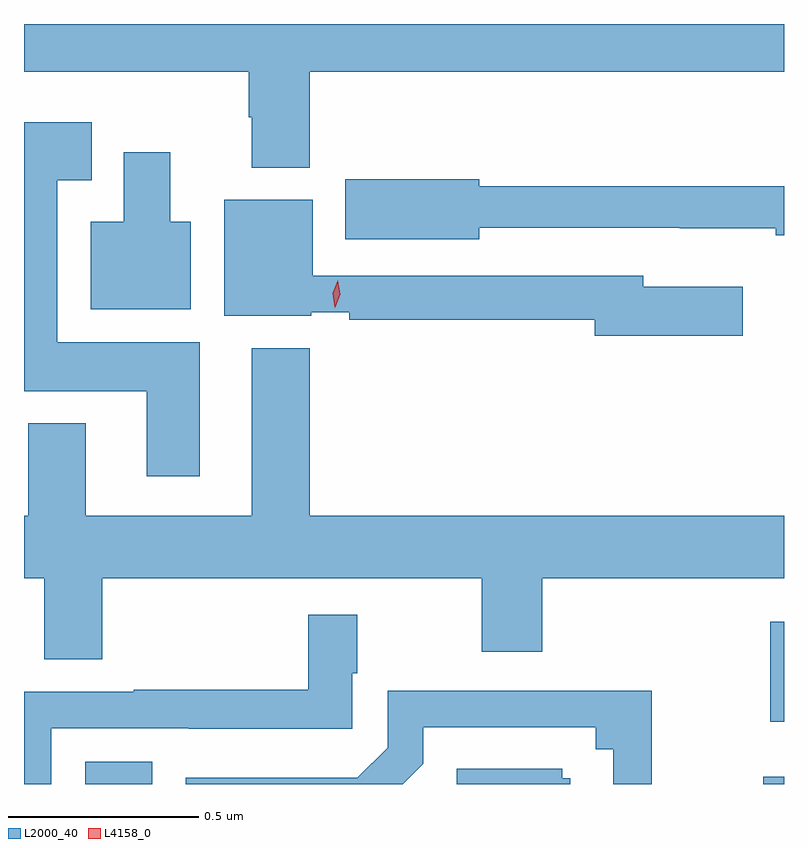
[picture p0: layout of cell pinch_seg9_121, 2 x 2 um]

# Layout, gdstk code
import gdstk
lib = gdstk.Library(unit=1e-6, precision=1e-09)
def R(c, l, rs):  # rectangles x0, y0, x1, y1
    for r in rs: c.add(gdstk.rectangle(r[:2], r[2:], *l))
def P(c, l, *ps):  # polygons
    for p in ps: c.add(gdstk.Polygon(p, *l))
L2000_40 = (2000, 40)
L4158_0 = (4158, 0)

pinch_seg9_121 = lib.new_cell('pinch_seg9_121')
R(pinch_seg9_121, L2000_40, [(843.989,1225.182,844.165,1225.24), (845.774,1225.182,845.828,1225.201), (845.792,1225.346,845.828,1225.609)])
P(pinch_seg9_121, L2000_40, [(844.58,1227.056),(845.828,1227.056),(845.828,1227.182),(843.828,1227.182),(843.828,1227.056),(844.42,1227.056),(844.42,1226.936),(844.427,1226.936),(844.427,1226.804),(844.58,1226.804)],
  [(844.291,1226.344),(843.916,1226.344),(843.916,1226.771),(844.006,1226.771),(844.006,1226.923),(843.828,1226.923),(843.828,1226.216),(844.151,1226.216),(844.151,1225.992),(844.291,1225.992)],
  [(844.267,1226.662),(844.213,1226.662),(844.213,1226.845),(844.091,1226.845),(844.091,1226.662),(844.004,1226.662),(844.004,1226.432),(844.267,1226.432)],
  [(845.026,1226.646),(845.554,1226.646),(845.554,1226.645),(845.806,1226.645),(845.806,1226.626),(845.828,1226.626),(845.828,1226.755),(845.026,1226.755),(845.026,1226.773),(844.674,1226.773),(844.674,1226.615),(845.026,1226.615)],
  [(845.719,1226.491),(845.458,1226.491),(845.458,1226.52),(844.588,1226.52),(844.588,1226.719),(844.355,1226.719),(844.355,1226.414),(844.584,1226.414),(844.584,1226.424),(844.684,1226.424),(844.684,1226.404),(845.33,1226.404),(845.33,1226.362),(845.719,1226.362)],
  [(844.034,1225.724),(845.032,1225.724),(845.032,1225.53),(845.192,1225.53),(845.192,1225.724),(845.828,1225.724),(845.828,1225.888),(844.58,1225.888),(844.58,1226.329),(844.427,1226.329),(844.427,1225.888),(843.991,1225.888),(843.991,1226.131),(843.839,1226.131),(843.839,1225.888),(843.828,1225.888),(843.828,1225.724),(843.881,1225.724),(843.881,1225.51),(844.034,1225.51)],
  [(843.9,1225.329),(844.261,1225.329),(844.261,1225.328),(844.692,1225.328),(844.692,1225.473),(844.705,1225.473),(844.705,1225.627),(844.576,1225.627),(844.576,1225.43),(844.117,1225.43),(844.117,1225.425),(843.828,1225.425),(843.828,1225.182),(843.9,1225.182)],
  [(844.878,1225.235),(844.878,1225.332),(845.332,1225.332),(845.332,1225.274),(845.379,1225.274),(845.379,1225.182),(845.48,1225.182),(845.48,1225.428),(844.785,1225.428),(844.785,1225.278),(844.705,1225.198),(844.253,1225.198),(844.253,1225.182),(844.825,1225.182)],
  [(845.266,1225.197),(845.244,1225.197),(845.244,1225.222),(844.967,1225.222),(844.967,1225.182),(845.266,1225.182)])
P(pinch_seg9_121, L4158_0, [(844.646,1226.437),(844.646,1226.437),(844.64,1226.473),(844.654,1226.507),(844.654,1226.508),(844.654,1226.507),(844.66,1226.471),(844.647,1226.437)])

lib.write_gds('pinch_seg9_121.gds')
